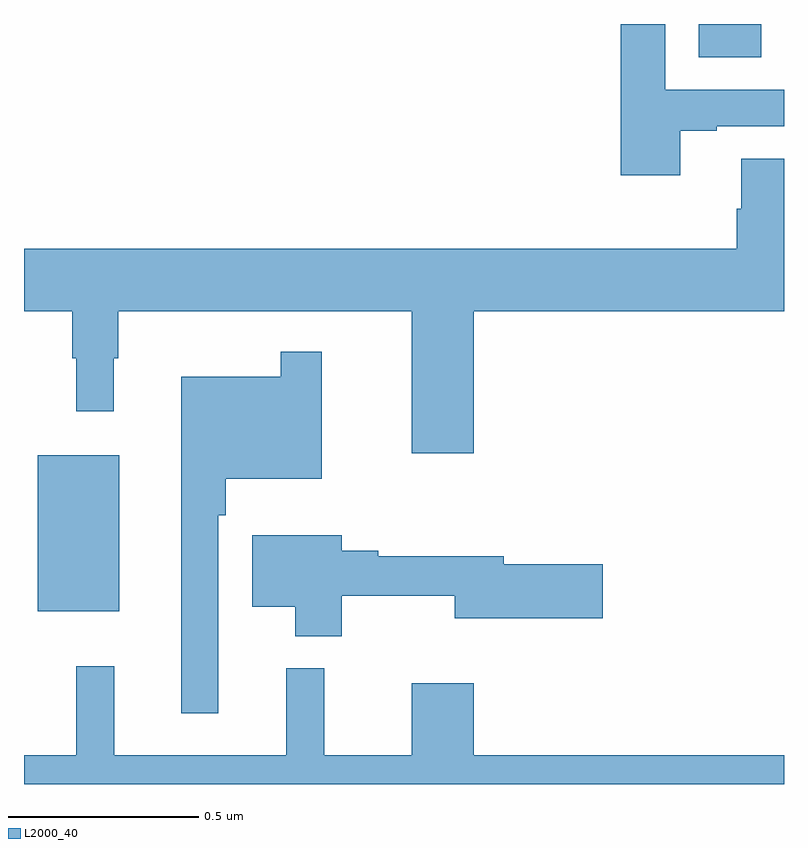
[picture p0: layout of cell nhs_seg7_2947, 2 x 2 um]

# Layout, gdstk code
import gdstk
lib = gdstk.Library(unit=1e-6, precision=1e-09)
def R(c, l, rs):  # rectangles x0, y0, x1, y1
    for r in rs: c.add(gdstk.rectangle(r[:2], r[2:], *l))
def P(c, l, *ps):  # polygons
    for p in ps: c.add(gdstk.Polygon(p, *l))
L2000_40 = (2000, 40)

nhs_seg7_2947 = lib.new_cell('nhs_seg7_2947')
R(nhs_seg7_2947, L2000_40, [(152.036,1038.455,152.251,1038.865), (153.776,1039.912,153.94,1040)])
P(nhs_seg7_2947, L2000_40, [(153.727,1039.719),(153.823,1039.719),(153.823,1039.731),(154,1039.731),(154,1039.827),(153.687,1039.827),(153.687,1040),(153.571,1040),(153.571,1039.602),(153.727,1039.602)],
  [(153.184,1039.244),(154,1039.244),(154,1039.646),(153.887,1039.646),(153.887,1039.514),(153.875,1039.514),(153.875,1039.408),(152,1039.408),(152,1039.244),(152.127,1039.244),(152.127,1039.121),(152.137,1039.121),(152.137,1038.981),(152.236,1038.981),(152.236,1039.121),(152.248,1039.121),(152.248,1039.244),(153.02,1039.244),(153.02,1038.87),(153.184,1038.87)],
  [(152.511,1038.707),(152.531,1038.707),(152.531,1038.803),(152.784,1038.803),(152.784,1039.138),(152.676,1039.138),(152.676,1039.072),(152.414,1039.072),(152.414,1038.186),(152.511,1038.186)],
  [(152.836,1038.496),(153.134,1038.496),(153.134,1038.436),(153.523,1038.436),(153.523,1038.578),(153.262,1038.578),(153.262,1038.599),(152.932,1038.599),(152.932,1038.614),(152.836,1038.614),(152.836,1038.655),(152.6,1038.655),(152.6,1038.467),(152.714,1038.467),(152.714,1038.389),(152.836,1038.389)],
  [(154,1038.076),(153.184,1038.076),(153.184,1038.265),(153.02,1038.265),(153.02,1038.076),(152.79,1038.076),(152.79,1038.304),(152.69,1038.304),(152.69,1038.076),(152.237,1038.076),(152.237,1038.31),(152.138,1038.31),(152.138,1038.076),(152,1038.076),(152,1038),(154,1038)])

lib.write_gds('nhs_seg7_2947.gds')
